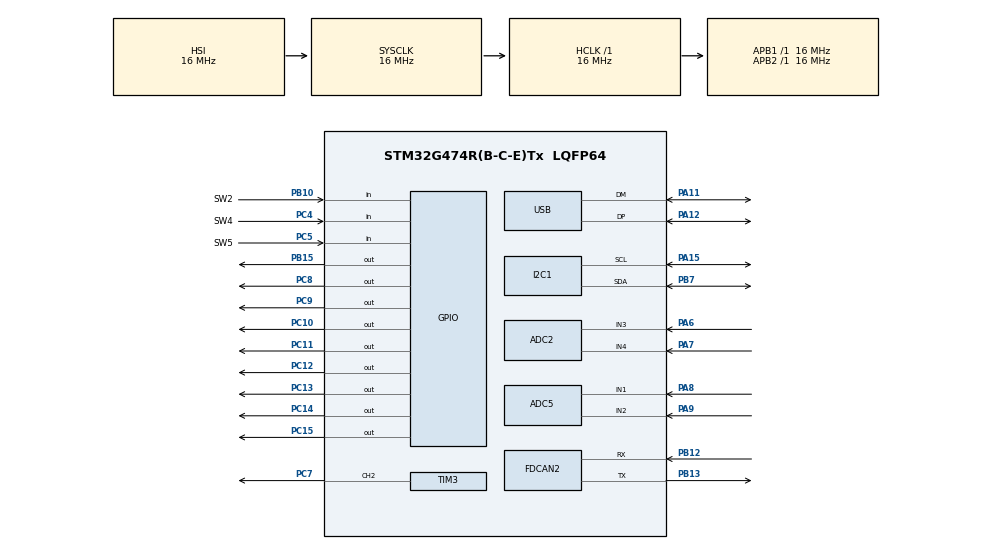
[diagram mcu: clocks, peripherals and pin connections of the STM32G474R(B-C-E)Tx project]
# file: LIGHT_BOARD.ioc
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ADC2.Channel-0\#ChannelRegularConversion=ADC_CHANNEL_3
ADC2.NbrOfConversionFlag=1
ADC2.OffsetNumber-0\#ChannelRegularConversion=ADC_OFFSET_NONE
ADC2.Rank-0\#ChannelRegularConversion=1
ADC2.SamplingTime-0\#ChannelRegularConversion=ADC_SAMPLETIME_2CYCLES_5
ADC5.Channel-0\#ChannelRegularConversion=ADC_CHANNEL_2
ADC5.NbrOfConversionFlag=1
ADC5.OffsetNumber-0\#ChannelRegularConversion=ADC_OFFSET_NONE
ADC5.Rank-0\#ChannelRegularConversion=1
ADC5.SamplingTime-0\#ChannelRegularConversion=ADC_SAMPLETIME_640CYCLES_5
Dma.Request0=TIM3_CH2
Dma.TIM3_CH2.0.Direction=DMA_MEMORY_TO_PERIPH
Dma.TIM3_CH2.0.EventEnable=DISABLE
Dma.TIM3_CH2.0.Instance=DMA1_Channel1
Dma.TIM3_CH2.0.MemDataAlignment=DMA_MDATAALIGN_HALFWORD
Dma.TIM3_CH2.0.MemInc=DMA_MINC_ENABLE
Dma.TIM3_CH2.0.Mode=DMA_NORMAL
Dma.TIM3_CH2.0.PeriphDataAlignment=DMA_PDATAALIGN_HALFWORD
Dma.TIM3_CH2.0.PeriphInc=DMA_PINC_DISABLE
Dma.TIM3_CH2.0.Polarity=HAL_DMAMUX_REQ_GEN_RISING
Dma.TIM3_CH2.0.Priority=DMA_PRIORITY_LOW
Dma.TIM3_CH2.0.RequestNumber=1
Dma.TIM3_CH2.0.SignalID=NONE
Dma.TIM3_CH2.0.SyncEnable=DISABLE
Dma.TIM3_CH2.0.SyncPolarity=HAL_DMAMUX_SYNC_NO_EVENT
Dma.TIM3_CH2.0.SyncRequestNumber=1
Dma.TIM3_CH2.0.SyncSignalID=NONE
FDCAN2.CalculateBaudRateNominal=333333
FDCAN2.CalculateTimeBitNominal=3000
FDCAN2.CalculateTimeQuantumNominal=1000.0
I2C1.Timing=0x00503D58
Mcu.Family=STM32G4
Mcu.Name=STM32G474R(B-C-E)Tx
Mcu.Package=LQFP64
NVIC.DMA1_Channel1_IRQn=true\:0\:0\:false\:false\:true\:false\:true\:true
NVIC.PriorityGroup=NVIC_PRIORITYGROUP_4
PA11.Mode=Device
PA11.Signal=USB_DM
PA12.Mode=Device
PA12.Signal=USB_DP
PA13.Mode=Serial_Wire
PA13.Signal=SYS_JTMS-SWDIO
PA14.Mode=Serial_Wire
PA14.Signal=SYS_JTCK-SWCLK
PA15.Mode=I2C
PA15.Signal=I2C1_SCL
PA6.Mode=IN3-Single-Ended
PA6.Signal=ADC2_IN3
PA7.Mode=IN4-Single-Ended
PA7.Signal=ADC2_IN4
PA8.Mode=IN1-Single-Ended
PA8.Signal=ADC5_IN1
PA9.Mode=IN2-Single-Ended
PA9.Signal=ADC5_IN2
PB10.GPIO_Label=SW2
PB10.GPIO_PuPd=GPIO_PULLUP
PB10.Signal=GPIO_Input
PB12.Mode=FDCAN_Activate
PB12.Signal=FDCAN2_RX
PB13.Mode=FDCAN_Activate
PB13.Signal=FDCAN2_TX
PB15.Signal=GPIO_Output
PB7.Mode=I2C
PB7.Signal=I2C1_SDA
PC10.Signal=GPIO_Output
PC11.Signal=GPIO_Output
PC12.Signal=GPIO_Output
PC13.Signal=GPIO_Output
PC14-OSC32_IN.Signal=GPIO_Output
PC15-OSC32_OUT.Signal=GPIO_Output
PC4.GPIO_Label=SW4
PC4.GPIO_PuPd=GPIO_PULLUP
PC4.Signal=GPIO_Input
PC5.GPIO_Label=SW5
PC5.GPIO_PuPd=GPIO_PULLUP
PC5.Signal=GPIO_Input
PC7.Signal=S_TIM3_CH2
PC8.Signal=GPIO_Output
PC9.Signal=GPIO_Output
PF0-OSC_IN.Mode=HSE-External-Clock-Source
PF0-OSC_IN.Signal=RCC_OSC_IN
ProjectManager.HeapSize=0x200
ProjectManager.StackSize=0x400
ProjectManager.TargetToolchain=STM32CubeIDE
RCC.AHBFreq_Value=16000000
RCC.APB1Freq_Value=16000000
RCC.APB1TimFreq_Value=16000000
RCC.APB2Freq_Value=16000000
RCC.APB2TimFreq_Value=16000000
RCC.CortexFreq_Value=16000000
RCC.EXTERNAL_CLOCK_VALUE=12288000
RCC.HCLKFreq_Value=16000000
RCC.HSE_VALUE=8000000
RCC.HSI48_VALUE=48000000
RCC.HSI_VALUE=16000000
RCC.LSE_VALUE=32768
RCC.PLLN=12
RCC.PLLQ=RCC_PLLQ_DIV4
RCC.SYSCLKFreq_VALUE=16000000
RCC.USBFreq_Value=48000000
RCC.VCOOutputFreq_Value=192000000
SH.S_TIM3_CH2.0=TIM3_CH2,PWM Generation2 CH2
TIM3.AutoReloadPreload=TIM_AUTORELOAD_PRELOAD_ENABLE
TIM3.Channel-PWM\ Generation2\ CH2=TIM_CHANNEL_2
TIM3.PeriodNoDither=19
VP_SYS_VS_DBSignals.Mode=DisableDeadBatterySignals
VP_TIM3_VS_ClockSourceINT.Mode=Internal
board=custom

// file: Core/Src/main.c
/* USER CODE BEGIN Header */
/**
  ******************************************************************************
  * @file           : main.c
  * @brief          : Main program body
  ******************************************************************************
  * @attention
  *
  * Copyright (c) 2026 STMicroelectronics.
  * All rights reserved.
  *
  * This software is licensed under terms that can be found in the LICENSE file
  * in the root directory of this software component.
  * If no LICENSE file comes with this software, it is provided AS-IS.
  *
  ******************************************************************************
  */
/* USER CODE END Header */
#include "main.h"
#include "adc.h"
#include "dma.h"
#include "fdcan.h"
#include "i2c.h"
#include "tim.h"
#include "usb.h"
#include "gpio.h"

/* USER CODE BEGIN Includes */
#include <stdio.h>
#include "ssd1306.h"
#include "ssd1306_fonts.h"
/* USER CODE END Includes */

/* USER CODE BEGIN PD */
#define NUM_LEDS_P1   16
#define BITS_PER_LED  24
#define BIT_0         5
#define BIT_1         10
#define LEAD_RESET    240   /* 300 us low BEFORE data: absorbs the
                               spurious start pulse, resets the strip */
#define TRAIL_SLOTS   8     /* lets the last bit finish cleanly
                               before the callback stops the timer */
#define P1_BUF_LEN    (LEAD_RESET + NUM_LEDS_P1 * BITS_PER_LED + TRAIL_SLOTS)
/* USER CODE END PD */

/* USER CODE BEGIN PV */
typedef struct { uint8_t r, g, b; } Color;

static uint16_t p1_dma_buf[P1_BUF_LEN];
static volatile uint8_t p1_dma_busy = 0;
/* USER CODE END PV */

void SystemClock_Config(void);
/* USER CODE BEGIN PFP */
static void panel1_set_all(uint8_t r, uint8_t g, uint8_t b);
static float read_temperature(ADC_HandleTypeDef *hadc, uint32_t channel);
/* USER CODE END PFP */

/* USER CODE BEGIN 0 */

/* Fill panel 1's DMA buffer with one color for all LEDs and transmit.
   Non-blocking: returns as soon as DMA is started. */
static void panel1_set_all(uint8_t r, uint8_t g, uint8_t b)
{
    while (p1_dma_busy);

    uint32_t grb = ((uint32_t)g << 16) | ((uint32_t)r << 8) | b;

    int n = 0;
    for (int i = 0; i < LEAD_RESET; i++)
        p1_dma_buf[n++] = 0;                    /* leading reset  */

    for (int led = 0; led < NUM_LEDS_P1; led++)
        for (int k = 23; k >= 0; k--)
            p1_dma_buf[n++] = (grb >> k) & 1 ? BIT_1 : BIT_0;

    for (int i = 0; i < TRAIL_SLOTS; i++)
        p1_dma_buf[n++] = 0;                    /* trailing pad   */

    p1_dma_busy = 1;
    HAL_TIM_PWM_Start_DMA(&htim3, TIM_CHANNEL_2,
                          (uint32_t*)p1_dma_buf, P1_BUF_LEN);
}

/* DMA transfer complete: stop PWM, release the busy flag */
void HAL_TIM_PWM_PulseFinishedCallback(TIM_HandleTypeDef *htim)
{
    if (htim->Instance == TIM3) {
        HAL_TIM_PWM_Stop_DMA(&htim3, TIM_CHANNEL_2);
        p1_dma_busy = 0;
    }
}

/* MCP9700 sensors:
     Panel 1: PA6 = ADC2_IN3
     Panel 2: PA7 = ADC2_IN4
     Panel 3: PA8 = ADC5_IN1
     Panel 4: PA9 = ADC5_IN2
   No external cap on VOUT, so we rely on a long 640.5-cycle sampling
   time plus 8-sample averaging to deal with the sensor's high output
   impedance. The channel is (re)configured on every call so the four
   sensors can share the two ADCs. */
static float read_temperature(ADC_HandleTypeDef *hadc, uint32_t channel)
{

    ADC_ChannelConfTypeDef sConfig = {0};
    sConfig.Channel      = channel;
    sConfig.Rank         = ADC_REGULAR_RANK_1;
    sConfig.SamplingTime = ADC_SAMPLETIME_640CYCLES_5;
    sConfig.SingleDiff   = ADC_SINGLE_ENDED;
    sConfig.OffsetNumber = ADC_OFFSET_NONE;
    sConfig.Offset       = 0;
    HAL_ADC_ConfigChannel(hadc, &sConfig);

    uint32_t sum = 0;

    for (int i = 0; i < 8; i++) {
        HAL_ADC_Start(hadc);
        HAL_ADC_PollForConversion(hadc, 10);
        sum += HAL_ADC_GetValue(hadc);
        HAL_ADC_Stop(hadc);
    }

    float raw = sum / 8.0f;
    float mv  = (raw * 3300.0f) / 4095.0f;   /* 12-bit @ 3.3 V VREF        */
    return (mv - 500.0f) / 10.0f;            /* MCP9700: 500 mV @ 0 °C,
                                                10 mV per °C               */
}

/* USER CODE END 0 */

int main(void)
{

  /* MCU Configuration--------------------------------------------------------*/

  /* Reset of all peripherals, Initializes the Flash interface and the Systick. */
  HAL_Init();

  /* Configure the system clock */
  SystemClock_Config();

  /* Initialize all configured peripherals */
  MX_GPIO_Init();
  MX_DMA_Init();
  MX_FDCAN2_Init();
  MX_I2C1_Init();
  MX_USB_PCD_Init();
  MX_ADC5_Init();
  MX_ADC2_Init();
  MX_TIM3_Init();
  /* USER CODE BEGIN 2 */
  ssd1306_Init();

  /* ADC calibration (G4 requires this before first conversion) */
  HAL_ADCEx_Calibration_Start(&hadc2, ADC_SINGLE_ENDED);
  HAL_ADCEx_Calibration_Start(&hadc5, ADC_SINGLE_ENDED);
  /* USER CODE END 2 */

  /* Infinite loop */
  while (1)
  {

    /* USER CODE BEGIN 3 */
	HAL_GPIO_WritePin(GPIOC, GPIO_PIN_10, 1);
    static Color c    = { .r = 255, .g = 255, .b = 255 };   /* startup: white */
    static Color last = { .r = 0,   .g = 0,   .b = 0};   /* force 1st send */

    if (HAL_GPIO_ReadPin(SW4_GPIO_Port, SW4_Pin) == GPIO_PIN_RESET) {
        c = (Color){ .r = 254, .g = 0, .b = 0 };      /* SW4: latch red   */
    }
    else if (HAL_GPIO_ReadPin(SW5_GPIO_Port, SW5_Pin) == GPIO_PIN_RESET) {
        c = (Color){ .r = 0, .g = 254, .b = 0 };      /* SW5: latch green */
    }
    else if (HAL_GPIO_ReadPin(SW2_GPIO_Port, SW2_Pin) == GPIO_PIN_RESET) {
        c = (Color){ .r = 0, .g = 0, .b = 254};       /* SW2: latch blue  */
    }

    /* Send to panel 1 only when the color actually changes */
    if (c.r != last.r || c.g != last.g || c.b != last.b) {
        panel1_set_all(c.r, c.g, c.b);
        last = c;
    }

    /* Read all four MCP9700s and update the OLED every 1 second */
    static uint32_t last_temp_tick = 0;
    static uint8_t  first_run      = 1;

    if (first_run || (HAL_GetTick() - last_temp_tick >= 1000U)) {
        first_run      = 0;
        last_temp_tick = HAL_GetTick();

        float temps[4];
        temps[0] = read_temperature(&hadc2, ADC_CHANNEL_3);   /* P1: PA6 */
        temps[1] = read_temperature(&hadc2, ADC_CHANNEL_4);   /* P2: PA7 */
        temps[2] = read_temperature(&hadc5, ADC_CHANNEL_1);   /* P3: PA8 */
        temps[3] = read_temperature(&hadc5, ADC_CHANNEL_2);   /* P4: PA9 */

        char ScreenBuffer[24];
        ssd1306_Fill(Black);

        for (int p = 0; p < 4; p++) {
            ssd1306_SetCursor(0, p * 16);
            if (temps[p] < 18) {
                sprintf(ScreenBuffer, "Panel %d is off", p + 1);
            }
            else {
                sprintf(ScreenBuffer, "P%d Temp(C) (%.1f)", p + 1, temps[p]);
            }
            ssd1306_WriteString(ScreenBuffer, Font_7x10, White);
        }

        ssd1306_UpdateScreen();
    }

    HAL_Delay(25);
  }
  /* USER CODE END 3 */
}

void SystemClock_Config(void)
{
  RCC_OscInitTypeDef RCC_OscInitStruct = {0};
  RCC_ClkInitTypeDef RCC_ClkInitStruct = {0};

  /** Configure the main internal regulator output voltage
  */
  HAL_PWREx_ControlVoltageScaling(PWR_REGULATOR_VOLTAGE_SCALE1);

  /** Initializes the RCC Oscillators according to the specified parameters
  * in the RCC_OscInitTypeDef structure.
  */
  RCC_OscInitStruct.OscillatorType = RCC_OSCILLATORTYPE_HSI;
  RCC_OscInitStruct.HSIState = RCC_HSI_ON;
  RCC_OscInitStruct.HSICalibrationValue = RCC_HSICALIBRATION_DEFAULT;
  RCC_OscInitStruct.PLL.PLLState = RCC_PLL_ON;
  RCC_OscInitStruct.PLL.PLLSource = RCC_PLLSOURCE_HSI;
  RCC_OscInitStruct.PLL.PLLM = RCC_PLLM_DIV1;
  RCC_OscInitStruct.PLL.PLLN = 12;
  RCC_OscInitStruct.PLL.PLLP = RCC_PLLP_DIV2;
  RCC_OscInitStruct.PLL.PLLQ = RCC_PLLQ_DIV4;
  RCC_OscInitStruct.PLL.PLLR = RCC_PLLR_DIV2;
  if (HAL_RCC_OscConfig(&RCC_OscInitStruct) != HAL_OK)
  {
    Error_Handler();
  }

  /** Initializes the CPU, AHB and APB buses clocks
  */
  RCC_ClkInitStruct.ClockType = RCC_CLOCKTYPE_HCLK|RCC_CLOCKTYPE_SYSCLK
                              |RCC_CLOCKTYPE_PCLK1|RCC_CLOCKTYPE_PCLK2;
  RCC_ClkInitStruct.SYSCLKSource = RCC_SYSCLKSOURCE_HSI;
  RCC_ClkInitStruct.AHBCLKDivider = RCC_SYSCLK_DIV1;
  RCC_ClkInitStruct.APB1CLKDivider = RCC_HCLK_DIV1;
  RCC_ClkInitStruct.APB2CLKDivider = RCC_HCLK_DIV1;

  if (HAL_RCC_ClockConfig(&RCC_ClkInitStruct, FLASH_LATENCY_0) != HAL_OK)
  {
    Error_Handler();
  }
}

void Error_Handler(void)
{
  __disable_irq();
  while (1)
  {
  }
}
